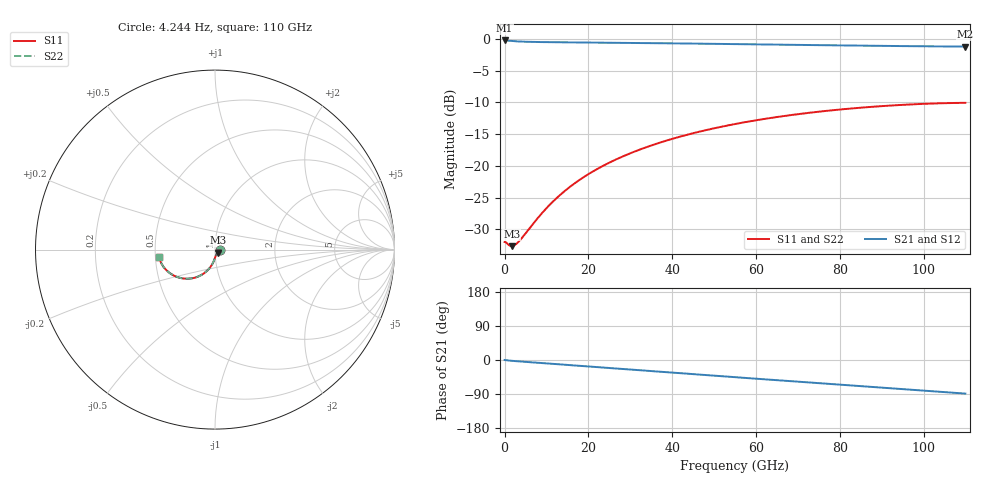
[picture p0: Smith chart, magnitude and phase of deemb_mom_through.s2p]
! Created Wed Apr 14 09:16:07 2010
# hz S ma R 50
! 2 Port Network Data from data block
! freq  magS11  angS11  magS21  angS21  magS12  angS12  magS22  angS22
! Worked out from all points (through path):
!   183 points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, 4.244 Hz to 110 GHz, reference 50 ohm
!   highest |S21| = -0.22 dB at 4.244 MHz (marker M1); lowest = -1.2 dB at 110 GHz (marker M2)
!   group delay of S21, straight-line fit = 2.23 ps
!   lowest |S11| = -32.7 dB at 1.698 GHz (marker M3), VSWR 1.05, Z = 51.6 - j1.73 ohm
!   |S11| at or under -10 dB: start of sweep to end of sweep
!   |S22| runs from -32.7 to -10.1 dB; largest |S21 - S12| = 0
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4.243827  0.02511 -0.0  0.9749 -0.0  0.9749 -0.0  0.02511 -0.0
4243827  0.02511 -0.2  0.9749 -0.0  0.9749 -0.0  0.02511 -0.2
1.188272e9  0.0235 -35.6  0.9685 -1.6  0.9685 -1.6  0.0235 -35.6
1.697531e9  0.02325 -45.9  0.9652 -2.2  0.9652 -2.2  0.02325 -45.9
2.514468e9  0.02384 -58.3  0.9609 -2.9  0.9609 -2.9  0.02384 -58.3
3.628472e9  0.02582 -69.4  0.9565 -3.9  0.9565 -3.9  0.02582 -69.4
8.402778e9  0.04049 -87.5  0.9471 -7.7  0.9471 -7.7  0.04048 -87.5
1.158565e10  0.05245 -92.4  0.9442 -10.2  0.9442 -10.2  0.05245 -92.4
1.527778e10  0.06703 -96.8  0.9417 -13.2  0.9417 -13.2  0.06703 -96.8
1.909722e10  0.08236 -100.6  0.9395 -16.3  0.9395 -16.3  0.08236 -100.6
2.291667e10  0.09768 -104.2  0.9372 -19.4  0.9372 -19.4  0.09768 -104.2
2.673611e10  0.1128 -107.6  0.9348 -22.5  0.9348 -22.5  0.1128 -107.6
3.131944e10  0.1307 -111.6  0.9317 -26.3  0.9317 -26.3  0.1307 -111.6
3.666667e10  0.1509 -116.1  0.9278 -30.6  0.9278 -30.6  0.1509 -116.1
4.583333e10  0.1838 -123.6  0.9205 -38.0  0.9205 -38.0  0.1837 -123.6
5.576389e10  0.2161 -131.5  0.912 -46.0  0.912 -46.0  0.2161 -131.5
6.493056e10  0.2425 -138.7  0.904 -53.2  0.904 -53.2  0.2425 -138.7
7.409722e10  0.2653 -145.8  0.896 -60.4  0.896 -60.4  0.2653 -145.8
8.25e10  0.2829 -152.1  0.8891 -67.0  0.8891 -67.0  0.2829 -152.2
9.166667e10  0.2983 -159.1  0.8822 -74.2  0.8822 -74.2  0.2982 -159.1
1.008333e11  0.309 -166.0  0.8765 -81.4  0.8765 -81.4  0.309 -166.0
1.1e11  0.3141 -172.9  0.8718 -88.7  0.8718 -88.7  0.314 -172.9
